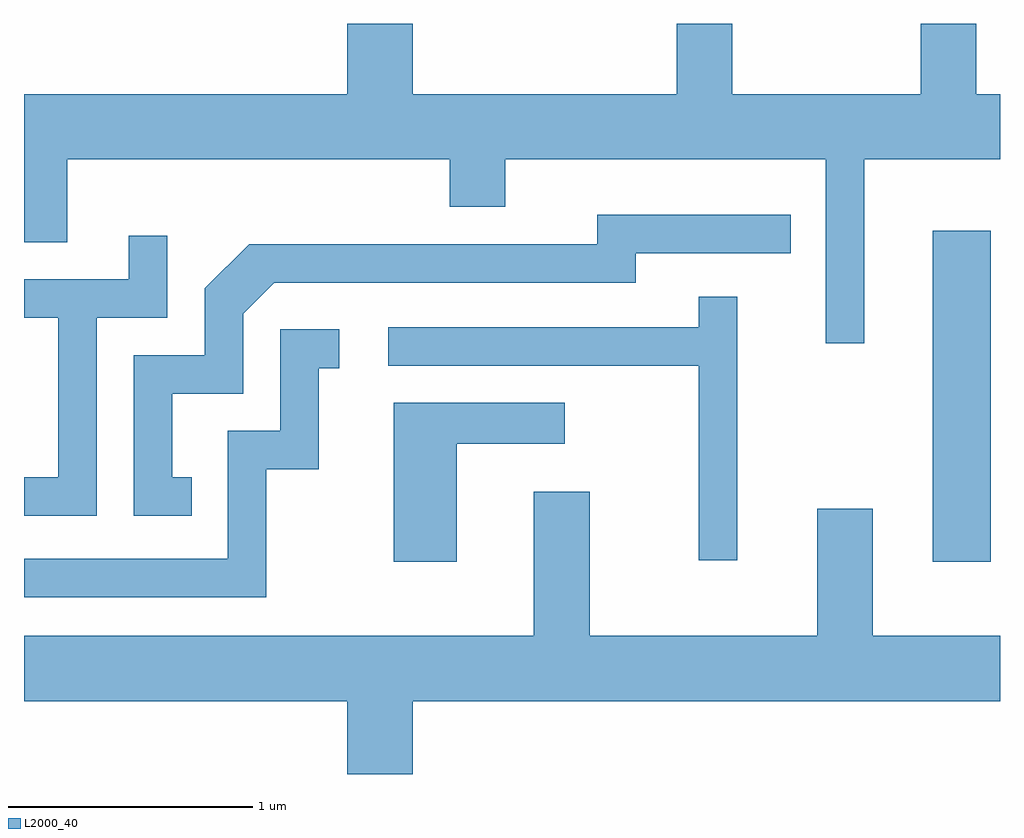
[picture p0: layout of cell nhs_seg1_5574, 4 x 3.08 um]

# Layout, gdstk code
import gdstk
lib = gdstk.Library(unit=1e-6, precision=1e-09)
def R(c, l, rs):  # rectangles x0, y0, x1, y1
    for r in rs: c.add(gdstk.rectangle(r[:2], r[2:], *l))
def P(c, l, *ps):  # polygons
    for p in ps: c.add(gdstk.Polygon(p, *l))
L2000_40 = (2000, 40)

nhs_seg1_5574 = lib.new_cell('nhs_seg1_5574')
R(nhs_seg1_5574, L2000_40, [(357.336,873.506,357.574,874.864)])
P(nhs_seg1_5574, L2000_40, [(357.054,875.156),(357.611,875.156),(357.611,875.424),(357.514,875.424),(357.514,875.712),(357.286,875.712),(357.286,875.424),(356.514,875.424),(356.514,875.712),(356.286,875.712),(356.286,875.424),(355.204,875.424),(355.204,875.712),(354.936,875.712),(354.936,875.424),(353.611,875.424),(353.611,874.816),(353.789,874.816),(353.789,875.156),(355.356,875.156),(355.356,874.961),(355.584,874.961),(355.584,875.156),(356.896,875.156),(356.896,874.403),(357.054,874.403)],
  [(354.298,873.854),(354.219,873.854),(354.219,874.196),(354.509,874.196),(354.509,874.524),(354.637,874.651),(356.119,874.651),(356.119,874.771),(356.753,874.771),(356.753,874.929),(355.961,874.929),(355.961,874.809),(354.534,874.809),(354.351,874.627),(354.351,874.354),(354.061,874.354),(354.061,873.696),(354.298,873.696)],
  [(353.909,874.506),(354.199,874.506),(354.199,874.843),(354.041,874.843),(354.041,874.664),(353.611,874.664),(353.611,874.506),(353.751,874.506),(353.751,873.854),(353.611,873.854),(353.611,873.696),(353.909,873.696)],
  [(356.534,874.593),(356.376,874.593),(356.376,874.469),(355.103,874.469),(355.103,874.311),(356.376,874.311),(356.376,873.513),(356.534,873.513)],
  [(354.604,873.886),(354.819,873.886),(354.819,874.301),(354.903,874.301),(354.903,874.459),(354.661,874.459),(354.661,874.044),(354.446,874.044),(354.446,873.519),(353.611,873.519),(353.611,873.361),(354.604,873.361)],
  [(355.384,873.991),(355.828,873.991),(355.828,874.159),(355.126,874.159),(355.126,873.506),(355.384,873.506)],
  [(355.204,872.936),(357.611,872.936),(357.611,873.204),(357.089,873.204),(357.089,873.724),(356.861,873.724),(356.861,873.204),(355.929,873.204),(355.929,873.794),(355.701,873.794),(355.701,873.204),(353.611,873.204),(353.611,872.936),(354.936,872.936),(354.936,872.636),(355.204,872.636)])

lib.write_gds('nhs_seg1_5574.gds')
